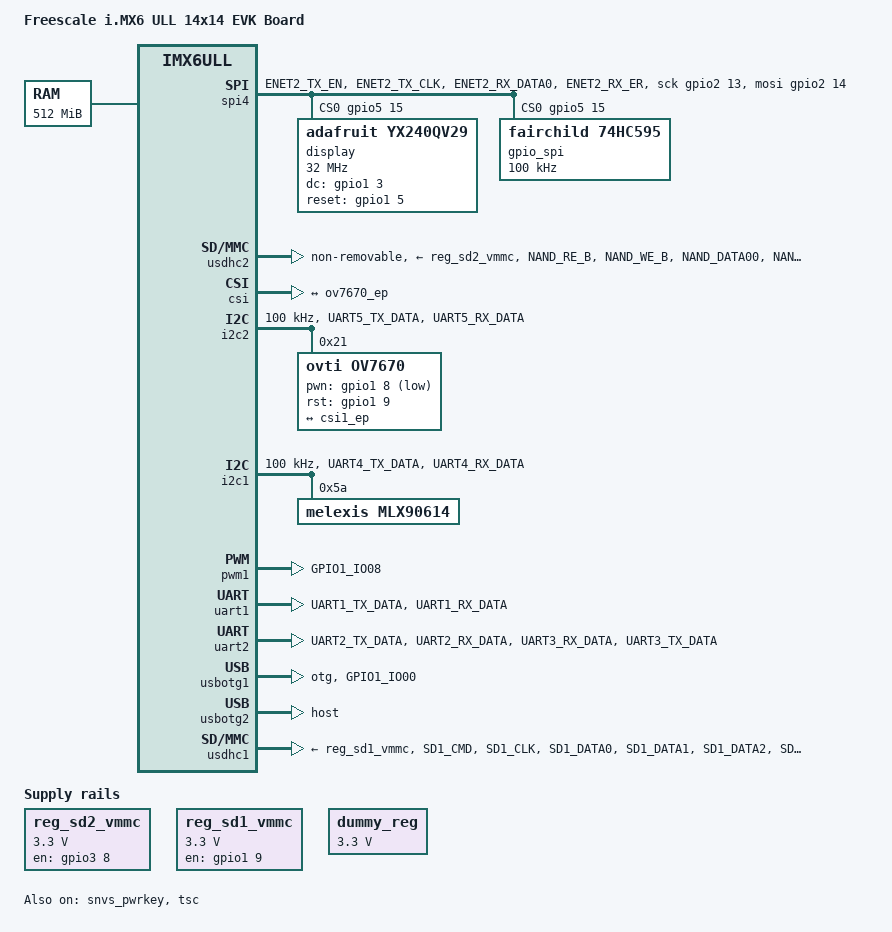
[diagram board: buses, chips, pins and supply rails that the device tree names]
// SPDX-License-Identifier: GPL-2.0
//
// Copyright (C) 2015 Freescale Semiconductor, Inc.
/dts-v1/;

#include "imx6ull.dtsi"
#include "imx6ul-14x14-evk.dtsi"

/ {
	model = "Freescale i.MX6 ULL 14x14 EVK Board";
	compatible = "fsl,imx6ull-14x14-evk", "fsl,imx6ull";
};

&clks {
	assigned-clocks = <&clks IMX6UL_CLK_PLL3_PFD2>,
			  <&clks IMX6UL_CLK_PLL4_AUDIO_DIV>;
	assigned-clock-rates = <320000000>, <786432000>;
};

&usdhc2 {
	pinctrl-names = "default";
	pinctrl-0 = <&pinctrl_usdhc2>;
	no-1-8-v;
	broken-cd;
	keep-power-in-suspend;
	wakeup-source;
	// wifi-host;
	vmmc-supply = <&reg_sd2_vmmc>;
	status = "okay";
};

&csi {
	status = "okay";
};

&ov7670 {
	status = "okay";
};

/delete-node/ &sim2;


/ {
	chosen {
		stdout-path = &uart1;
	};

	memory@80000000 {
		device_type = "memory";
		reg = <0x80000000 0x20000000>;
	};

	reserved-memory {
		#address-cells = <1>;
		#size-cells = <1>;
		ranges;

		linux,cma {
			compatible = "shared-dma-pool";
			reusable;
			size = <0xa000000>;
			linux,cma-default;
		};
	};

	pxp_v4l2 {
		compatible = "fsl,imx6ul-pxp-v4l2", "fsl,imx6sx-pxp-v4l2", "fsl,imx6sl-pxp-v4l2";
		status = "okay";
	};

	reg_sd2_vmmc: regulator-sd2-vmmc {
		compatible = "regulator-fixed";
		regulator-name = "WIFI";
		regulator-min-microvolt = <3300000>;
		regulator-max-microvolt = <3300000>;
		regulator-always-on;
		gpio = <&gpio3 8 GPIO_ACTIVE_HIGH>;
		off-on-delay-us = <10000>;
		enable-active-high;
	};

	reg_sd1_vmmc: regulator-sd1-vmmc {
		compatible = "regulator-fixed";
		regulator-name = "VSD_3V3";
		regulator-min-microvolt = <3300000>;
		regulator-max-microvolt = <3300000>;
		gpio = <&gpio1 9 GPIO_ACTIVE_HIGH>;
		off-on-delay-us = <20000>;
		enable-active-high;
	};

	dummy_reg: dummy_reg {
		compatible = "regulator-fixed";
		regulator-name = "dummy_reg";
		regulator-min-microvolt = <3300000>;
		regulator-max-microvolt = <3300000>;
		enable-active-high;
	};

	spi4 {
		compatible = "spi-gpio";
		pinctrl-names = "default";
		pinctrl-0 = <&pinctrl_spi4>;
		status = "okay";
		pinctrl-assert-gpios = <&gpio2 8 GPIO_ACTIVE_LOW>;
		gpio-sck = <&gpio2 13 0>;
		gpio-mosi = <&gpio2 14 0>;
		cs-gpios = <&gpio5 15 0>;
		num-chipselects = <1>;
		#address-cells = <1>;
		#size-cells = <0>;

		display@0{
			compatible = "adafruit,yx240qv29", "ilitek,ili9341";
			reg = <0>;
			spi-max-frequency = <32000000>;
			dc-gpios = <&gpio1 3 GPIO_ACTIVE_HIGH>;
			reset-gpios = <&gpio1 5 GPIO_ACTIVE_HIGH>;
			rotation = <270>;
			// backlight = <&backlight>;
		};

		gpio_spi: gpio@0 {
			compatible = "fairchild,74hc595";
			gpio-controller;
			#gpio-cells = <2>;
			reg = <0>;
			registers-number = <1>;
			registers-default = /bits/ 8 <0x57>;
			spi-max-frequency = <100000>;
		};
	};
};

&clks {
	assigned-clocks = <&clks IMX6UL_CLK_PLL4_AUDIO_DIV>;
	assigned-clock-rates = <786432000>;
};

&csi {
	status = "okay";

	port {
		csi1_ep: endpoint {
			remote-endpoint = <&ov7670_ep>;
		};
	};
};

&i2c2 {
	clock-frequency = <100000>;
	pinctrl-names = "default";
	pinctrl-0 = <&pinctrl_i2c2>;
	status = "okay";

	ov7670: ov7670@21 {
		compatible = "ovti,ov7670";
		reg = <0x21>;
		pinctrl-names = "default";
		pinctrl-0 = <&pinctrl_csi1>;
		clocks = <&clks IMX6UL_CLK_CSI>;
		clock-names = "csi_mclk";
		pwn-gpios = <&gpio1 8 1>;
		rst-gpios = <&gpio1 9 0>;
		csi_id = <0>;
		mclk = <24000000>;
		mclk_source = <0>;
		status = "okay";
		port {
			ov7670_ep: endpoint {
				remote-endpoint = <&csi1_ep>;
			};
		};
	};
};

&i2c1 {
	clock-frequency = <100000>;
	pinctrl-names = "default";
	pinctrl-0 = <&pinctrl_i2c1>;
	status = "okay";

	mlx90614@5a{
		compatible = "melexis,mlx90614";
		reg = <0x5a>;
	};
};

&pwm1 {
	pinctrl-names = "default";
	pinctrl-0 = <&pinctrl_pwm1>;
	status = "okay";
};

// &pxp {
// 	status = "okay";
// };

&snvs_poweroff {
	status = "okay";
};

&snvs_pwrkey {
	status = "okay";
};

// &sim2 {
// 	pinctrl-names = "default";
// 	pinctrl-0 = <&pinctrl_sim2>;
// 	assigned-clocks = <&clks IMX6UL_CLK_SIM_SEL>;
// 	assigned-clock-parents = <&clks IMX6UL_CLK_SIM_PODF>;
// 	assigned-clock-rates = <240000000>;
// 	/* GPIO_ACTIVE_HIGH/LOW:sim card voltage control
// 	 * NCN8025:Vcc = ACTIVE_HIGH?5V:3V
// 	 * TDA8035:Vcc = ACTIVE_HIGH?5V:1.8V
// 	 */
// 	pinctrl-assert-gpios = <&gpio4 23 GPIO_ACTIVE_HIGH>;
// 	port = <1>;
// 	sven_low_active;
// 	status = "okay";
// };

&tsc {
	pinctrl-names = "default";
	pinctrl-0 = <&pinctrl_tsc>;
	xnur-gpio = <&gpio1 3 GPIO_ACTIVE_LOW>;
	measure-delay-time = <0xffff>;
	pre-charge-time = <0xfff>;
	status = "okay";
};

&uart1 {
	pinctrl-names = "default";
	pinctrl-0 = <&pinctrl_uart1>;
	status = "okay";
};

&uart2 {
	pinctrl-names = "default";
	pinctrl-0 = <&pinctrl_uart2>;
	uart-has-rtscts;
	/* for DTE mode, add below change */
	/* fsl,dte-mode; */
	/* pinctrl-0 = <&pinctrl_uart2dte>; */
	status = "okay";
};

&usbotg1 {
	dr_mode = "otg";
	pinctrl-names = "default";
	pinctrl-0 = <&pinctrl_usb_otg1>;
	status = "okay";
};

&usbotg2 {
	dr_mode = "host";
	disable-over-current;
	status = "okay";
};

&usbphy1 {
	fsl,tx-d-cal = <106>;
};

&usbphy2 {
	fsl,tx-d-cal = <106>;
};

&usdhc1 {
	pinctrl-names = "default", "state_100mhz", "state_200mhz";
	pinctrl-0 = <&pinctrl_usdhc1>;
	pinctrl-1 = <&pinctrl_usdhc1_100mhz>;
	pinctrl-2 = <&pinctrl_usdhc1_200mhz>;
	cd-gpios = <&gpio1 19 GPIO_ACTIVE_LOW>;
	keep-power-in-suspend;
	wakeup-source;
	vmmc-supply = <&reg_sd1_vmmc>;
	status = "okay";
};


&usdhc2 {
	pinctrl-names = "default";
	pinctrl-0 = <&pinctrl_usdhc2>;
	non-removable;
	keep-power-in-suspend;
	wakeup-source;
	status = "okay";
};

&wdog1 {
	pinctrl-names = "default";
	pinctrl-0 = <&pinctrl_wdog>;
	fsl,ext-reset-output;
};

&iomuxc {
	pinctrl-names = "default";

	pinctrl_csi1: csi1grp {
		fsl,pins = <
			MX6UL_PAD_CSI_MCLK__CSI_MCLK		0x1b088
			MX6UL_PAD_CSI_PIXCLK__CSI_PIXCLK	0x1b088
			MX6UL_PAD_CSI_VSYNC__CSI_VSYNC		0x1b088
			MX6UL_PAD_CSI_HSYNC__CSI_HSYNC		0x1b088
			MX6UL_PAD_CSI_DATA00__CSI_DATA02	0x1b088
			MX6UL_PAD_CSI_DATA01__CSI_DATA03	0x1b088
			MX6UL_PAD_CSI_DATA02__CSI_DATA04	0x1b088
			MX6UL_PAD_CSI_DATA03__CSI_DATA05	0x1b088
			MX6UL_PAD_CSI_DATA04__CSI_DATA06	0x1b088
			MX6UL_PAD_CSI_DATA05__CSI_DATA07	0x1b088
			MX6UL_PAD_CSI_DATA06__CSI_DATA08	0x1b088
			MX6UL_PAD_CSI_DATA07__CSI_DATA09	0x1b088
		>;
	};

	pinctrl_enet1: enet1grp {
		fsl,pins = <
			MX6UL_PAD_ENET1_RX_EN__ENET1_RX_EN	0x1b0b0
			MX6UL_PAD_ENET1_RX_ER__ENET1_RX_ER	0x1b0b0
			MX6UL_PAD_ENET1_RX_DATA0__ENET1_RDATA00	0x1b0b0
			MX6UL_PAD_ENET1_RX_DATA1__ENET1_RDATA01	0x1b0b0
			MX6UL_PAD_ENET1_TX_EN__ENET1_TX_EN	0x1b0b0
			MX6UL_PAD_ENET1_TX_DATA0__ENET1_TDATA00	0x1b0b0
			MX6UL_PAD_ENET1_TX_DATA1__ENET1_TDATA01	0x1b0b0
			MX6UL_PAD_ENET1_TX_CLK__ENET1_REF_CLK1	0x4001b031
		>;
	};

	pinctrl_enet2: enet2grp {
		fsl,pins = <
			MX6UL_PAD_GPIO1_IO07__ENET2_MDC		0x1b0b0
			MX6UL_PAD_GPIO1_IO06__ENET2_MDIO	0x1b0b0
			MX6UL_PAD_ENET2_RX_EN__ENET2_RX_EN	0x1b0b0
			MX6UL_PAD_ENET2_RX_ER__ENET2_RX_ER	0x1b0b0
			MX6UL_PAD_ENET2_RX_DATA0__ENET2_RDATA00	0x1b0b0
			MX6UL_PAD_ENET2_RX_DATA1__ENET2_RDATA01	0x1b0b0
			MX6UL_PAD_ENET2_TX_EN__ENET2_TX_EN	0x1b0b0
			MX6UL_PAD_ENET2_TX_DATA0__ENET2_TDATA00	0x1b0b0
			MX6UL_PAD_ENET2_TX_DATA1__ENET2_TDATA01	0x1b0b0
			MX6UL_PAD_ENET2_TX_CLK__ENET2_REF_CLK2	0x4001b031
		>;
	};

	pinctrl_flexcan1: flexcan1grp{
		fsl,pins = <
			MX6UL_PAD_UART3_RTS_B__FLEXCAN1_RX	0x1b020
			MX6UL_PAD_UART3_CTS_B__FLEXCAN1_TX	0x1b020
		>;
	};

	pinctrl_flexcan2: flexcan2grp{
		fsl,pins = <
			MX6UL_PAD_UART2_RTS_B__FLEXCAN2_RX	0x1b020
			MX6UL_PAD_UART2_CTS_B__FLEXCAN2_TX	0x1b020
		>;
	};

	pinctrl_i2c1: i2c1grp {
		fsl,pins = <
			MX6UL_PAD_UART4_TX_DATA__I2C1_SCL 0x4001b8b0
			MX6UL_PAD_UART4_RX_DATA__I2C1_SDA 0x4001b8b0
		>;
	};

	pinctrl_i2c2: i2c2grp {
		fsl,pins = <
			MX6UL_PAD_UART5_TX_DATA__I2C2_SCL 0x4001b8b0
			MX6UL_PAD_UART5_RX_DATA__I2C2_SDA 0x4001b8b0
		>;
	};

	// pinctrl_lcdif_dat: lcdifdatgrp {
	// 	fsl,pins = <
	// 		MX6UL_PAD_LCD_DATA00__LCDIF_DATA00  0x79
	// 		MX6UL_PAD_LCD_DATA01__LCDIF_DATA01  0x79
	// 		MX6UL_PAD_LCD_DATA02__LCDIF_DATA02  0x79
	// 		MX6UL_PAD_LCD_DATA03__LCDIF_DATA03  0x79
	// 		MX6UL_PAD_LCD_DATA04__LCDIF_DATA04  0x79
	// 		MX6UL_PAD_LCD_DATA05__LCDIF_DATA05  0x79
	// 		MX6UL_PAD_LCD_DATA06__LCDIF_DATA06  0x79
	// 		MX6UL_PAD_LCD_DATA07__LCDIF_DATA07  0x79
	// 		MX6UL_PAD_LCD_DATA08__LCDIF_DATA08  0x79
	// 		MX6UL_PAD_LCD_DATA09__LCDIF_DATA09  0x79
	// 		MX6UL_PAD_LCD_DATA10__LCDIF_DATA10  0x79
	// 		MX6UL_PAD_LCD_DATA11__LCDIF_DATA11  0x79
	// 		MX6UL_PAD_LCD_DATA12__LCDIF_DATA12  0x79
	// 		MX6UL_PAD_LCD_DATA13__LCDIF_DATA13  0x79
	// 		MX6UL_PAD_LCD_DATA14__LCDIF_DATA14  0x79
	// 		MX6UL_PAD_LCD_DATA15__LCDIF_DATA15  0x79
	// 		MX6UL_PAD_LCD_DATA16__LCDIF_DATA16  0x79
	// 		MX6UL_PAD_LCD_DATA17__LCDIF_DATA17  0x79
	// 		MX6UL_PAD_LCD_DATA18__LCDIF_DATA18  0x79
	// 		MX6UL_PAD_LCD_DATA19__LCDIF_DATA19  0x79
	// 		MX6UL_PAD_LCD_DATA20__LCDIF_DATA20  0x79
	// 		MX6UL_PAD_LCD_DATA21__LCDIF_DATA21  0x79
	// 		MX6UL_PAD_LCD_DATA22__LCDIF_DATA22  0x79
	// 		MX6UL_PAD_LCD_DATA23__LCDIF_DATA23  0x79
	// 	>;
	// };

	// pinctrl_lcdif_ctrl: lcdifctrlgrp {
	// 	fsl,pins = <
	// 		MX6UL_PAD_LCD_CLK__LCDIF_CLK	    0x79
	// 		MX6UL_PAD_LCD_ENABLE__LCDIF_ENABLE  0x79
	// 		MX6UL_PAD_LCD_HSYNC__LCDIF_HSYNC    0x79
	// 		MX6UL_PAD_LCD_VSYNC__LCDIF_VSYNC    0x79
	// 		/* used for lcd reset */
	// 		MX6UL_PAD_SNVS_TAMPER9__GPIO5_IO09  0x79
	// 	>;
	// };

	pinctrl_qspi: qspigrp {
		fsl,pins = <
			MX6UL_PAD_NAND_WP_B__QSPI_A_SCLK	0x70a1
			MX6UL_PAD_NAND_READY_B__QSPI_A_DATA00	0x70a1
			MX6UL_PAD_NAND_CE0_B__QSPI_A_DATA01	0x70a1
			MX6UL_PAD_NAND_CE1_B__QSPI_A_DATA02	0x70a1
			MX6UL_PAD_NAND_CLE__QSPI_A_DATA03	0x70a1
			MX6UL_PAD_NAND_DQS__QSPI_A_SS0_B	0x70a1
		>;
	};

	pinctrl_sai2: sai2grp {
		fsl,pins = <
			MX6UL_PAD_JTAG_TDI__SAI2_TX_BCLK	0x17088
			MX6UL_PAD_JTAG_TDO__SAI2_TX_SYNC	0x17088
			MX6UL_PAD_JTAG_TRST_B__SAI2_TX_DATA	0x11088
			MX6UL_PAD_JTAG_TCK__SAI2_RX_DATA	0x11088
			MX6UL_PAD_JTAG_TMS__SAI2_MCLK		0x17088
			MX6UL_PAD_SNVS_TAMPER4__GPIO5_IO04	0x17059
		>;
	};

	pinctrl_pwm1: pwm1grp {
		fsl,pins = <
			MX6UL_PAD_GPIO1_IO08__PWM1_OUT   0x110b0
		>;
	};

	pinctrl_sim2: sim2grp {
		fsl,pins = <
			MX6UL_PAD_CSI_DATA03__SIM2_PORT1_PD		0xb808
			MX6UL_PAD_CSI_DATA04__SIM2_PORT1_CLK		0x31
			MX6UL_PAD_CSI_DATA05__SIM2_PORT1_RST_B		0xb808
			MX6UL_PAD_CSI_DATA06__SIM2_PORT1_SVEN		0xb808
			MX6UL_PAD_CSI_DATA07__SIM2_PORT1_TRXD		0xb809
			MX6UL_PAD_CSI_DATA02__GPIO4_IO23		0x3008
		>;
	};

	pinctrl_spi4: spi4grp {
		fsl,pins = <
			MX6UL_PAD_ENET2_TX_EN__GPIO2_IO13	0x70a1 
			MX6UL_PAD_ENET2_TX_CLK__GPIO2_IO14	0x70a1
			MX6UL_PAD_ENET2_RX_DATA0__GPIO2_IO08	0x70a1
			MX6UL_PAD_ENET2_RX_ER__GPIO2_IO15	0x80000000
		>;
	};

	// pinctrl_spi4: spi4grp {
	// 	fsl,pins = <
	// 		MX6UL_PAD_BOOT_MODE0__GPIO5_IO10	0x70a1
	// 		MX6UL_PAD_BOOT_MODE1__GPIO5_IO11	0x70a1
	// 		MX6UL_PAD_SNVS_TAMPER7__GPIO5_IO07	0x70a1
	// 		MX6UL_PAD_SNVS_TAMPER8__GPIO5_IO08	0x80000000
	// 	>;
	// };

	pinctrl_tsc: tscgrp {
		fsl,pins = <
			MX6UL_PAD_GPIO1_IO01__GPIO1_IO01		0xb0
			MX6UL_PAD_GPIO1_IO02__GPIO1_IO02		0xb0
			MX6UL_PAD_GPIO1_IO03__GPIO1_IO03		0xb0
			MX6UL_PAD_GPIO1_IO04__GPIO1_IO04		0xb0
		>;
	};

	pinctrl_uart1: uart1grp {
		fsl,pins = <
			MX6UL_PAD_UART1_TX_DATA__UART1_DCE_TX 0x1b0b1
			MX6UL_PAD_UART1_RX_DATA__UART1_DCE_RX 0x1b0b1
		>;
	};

	pinctrl_uart2: uart2grp {
		fsl,pins = <
			MX6UL_PAD_UART2_TX_DATA__UART2_DCE_TX	0x1b0b1
			MX6UL_PAD_UART2_RX_DATA__UART2_DCE_RX	0x1b0b1
			MX6UL_PAD_UART3_RX_DATA__UART2_DCE_RTS	0x1b0b1
			MX6UL_PAD_UART3_TX_DATA__UART2_DCE_CTS	0x1b0b1
		>;
	};

	pinctrl_uart2dte: uart2dtegrp {
		fsl,pins = <
			MX6UL_PAD_UART2_TX_DATA__UART2_DTE_RX	0x1b0b1
			MX6UL_PAD_UART2_RX_DATA__UART2_DTE_TX	0x1b0b1
			MX6UL_PAD_UART3_RX_DATA__UART2_DTE_CTS	0x1b0b1
			MX6UL_PAD_UART3_TX_DATA__UART2_DTE_RTS	0x1b0b1
		>;
	};

	pinctrl_usb_otg1: usbotg1grp {
		fsl,pins = <
			MX6UL_PAD_GPIO1_IO00__ANATOP_OTG1_ID	0x17059
		>;
	};

	pinctrl_usdhc1: usdhc1grp {
		fsl,pins = <
			MX6UL_PAD_SD1_CMD__USDHC1_CMD     	0x17059
			MX6UL_PAD_SD1_CLK__USDHC1_CLK		0x10071
			MX6UL_PAD_SD1_DATA0__USDHC1_DATA0 	0x17059
			MX6UL_PAD_SD1_DATA1__USDHC1_DATA1 	0x17059
			MX6UL_PAD_SD1_DATA2__USDHC1_DATA2 	0x17059
			MX6UL_PAD_SD1_DATA3__USDHC1_DATA3 	0x17059
			MX6UL_PAD_UART1_RTS_B__GPIO1_IO19       0x17059 /* SD1 CD */
			MX6UL_PAD_GPIO1_IO05__USDHC1_VSELECT    0x17059 /* SD1 VSELECT */
			MX6UL_PAD_GPIO1_IO09__GPIO1_IO09        0x17059 /* SD1 RESET */
		>;
	};

	pinctrl_usdhc1_100mhz: usdhc1grp100mhz {
		fsl,pins = <
			MX6UL_PAD_SD1_CMD__USDHC1_CMD     0x170b9
			MX6UL_PAD_SD1_CLK__USDHC1_CLK     0x100b9
			MX6UL_PAD_SD1_DATA0__USDHC1_DATA0 0x170b9
			MX6UL_PAD_SD1_DATA1__USDHC1_DATA1 0x170b9
			MX6UL_PAD_SD1_DATA2__USDHC1_DATA2 0x170b9
			MX6UL_PAD_SD1_DATA3__USDHC1_DATA3 0x170b9

		>;
	};

	pinctrl_usdhc1_200mhz: usdhc1grp200mhz {
		fsl,pins = <
			MX6UL_PAD_SD1_CMD__USDHC1_CMD     0x170f9
			MX6UL_PAD_SD1_CLK__USDHC1_CLK     0x100f9
			MX6UL_PAD_SD1_DATA0__USDHC1_DATA0 0x170f9
			MX6UL_PAD_SD1_DATA1__USDHC1_DATA1 0x170f9
			MX6UL_PAD_SD1_DATA2__USDHC1_DATA2 0x170f9
			MX6UL_PAD_SD1_DATA3__USDHC1_DATA3 0x170f9
		>;
	};

	pinctrl_usdhc2: usdhc2grp {
		fsl,pins = <
			MX6UL_PAD_NAND_RE_B__USDHC2_CLK     0x17059
			MX6UL_PAD_NAND_WE_B__USDHC2_CMD     0x17059
			MX6UL_PAD_NAND_DATA00__USDHC2_DATA0 0x17059
			MX6UL_PAD_NAND_DATA01__USDHC2_DATA1 0x17059
			MX6UL_PAD_NAND_DATA02__USDHC2_DATA2 0x17059
			MX6UL_PAD_NAND_DATA03__USDHC2_DATA3 0x17059
		>;
	};

	pinctrl_usdhc2_8bit: usdhc2grp_8bit {
		fsl,pins = <
			MX6UL_PAD_NAND_RE_B__USDHC2_CLK     0x10069
			MX6UL_PAD_NAND_WE_B__USDHC2_CMD     0x17059
			MX6UL_PAD_NAND_DATA00__USDHC2_DATA0 0x17059
			MX6UL_PAD_NAND_DATA01__USDHC2_DATA1 0x17059
			MX6UL_PAD_NAND_DATA02__USDHC2_DATA2 0x17059
			MX6UL_PAD_NAND_DATA03__USDHC2_DATA3 0x17059
			MX6UL_PAD_NAND_DATA04__USDHC2_DATA4 0x17059
			MX6UL_PAD_NAND_DATA05__USDHC2_DATA5 0x17059
			MX6UL_PAD_NAND_DATA06__USDHC2_DATA6 0x17059
			MX6UL_PAD_NAND_DATA07__USDHC2_DATA7 0x17059
		>;
	};

	pinctrl_usdhc2_8bit_100mhz: usdhc2grp_8bit_100mhz {
		fsl,pins = <
			MX6UL_PAD_NAND_RE_B__USDHC2_CLK     0x100b9
			MX6UL_PAD_NAND_WE_B__USDHC2_CMD     0x170b9
			MX6UL_PAD_NAND_DATA00__USDHC2_DATA0 0x170b9
			MX6UL_PAD_NAND_DATA01__USDHC2_DATA1 0x170b9
			MX6UL_PAD_NAND_DATA02__USDHC2_DATA2 0x170b9
			MX6UL_PAD_NAND_DATA03__USDHC2_DATA3 0x170b9
			MX6UL_PAD_NAND_DATA04__USDHC2_DATA4 0x170b9
			MX6UL_PAD_NAND_DATA05__USDHC2_DATA5 0x170b9
			MX6UL_PAD_NAND_DATA06__USDHC2_DATA6 0x170b9
			MX6UL_PAD_NAND_DATA07__USDHC2_DATA7 0x170b9
		>;
	};

	pinctrl_usdhc2_8bit_200mhz: usdhc2grp_8bit_200mhz {
		fsl,pins = <
			MX6UL_PAD_NAND_RE_B__USDHC2_CLK     0x100f9
			MX6UL_PAD_NAND_WE_B__USDHC2_CMD     0x170f9
			MX6UL_PAD_NAND_DATA00__USDHC2_DATA0 0x170f9
			MX6UL_PAD_NAND_DATA01__USDHC2_DATA1 0x170f9
			MX6UL_PAD_NAND_DATA02__USDHC2_DATA2 0x170f9
			MX6UL_PAD_NAND_DATA03__USDHC2_DATA3 0x170f9
			MX6UL_PAD_NAND_DATA04__USDHC2_DATA4 0x170f9
			MX6UL_PAD_NAND_DATA05__USDHC2_DATA5 0x170f9
			MX6UL_PAD_NAND_DATA06__USDHC2_DATA6 0x170f9
			MX6UL_PAD_NAND_DATA07__USDHC2_DATA7 0x170f9
		>;
	};

	pinctrl_wdog: wdoggrp {
		fsl,pins = <
			MX6UL_PAD_LCD_RESET__WDOG1_WDOG_ANY    0x30b0
		>;
	};
};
